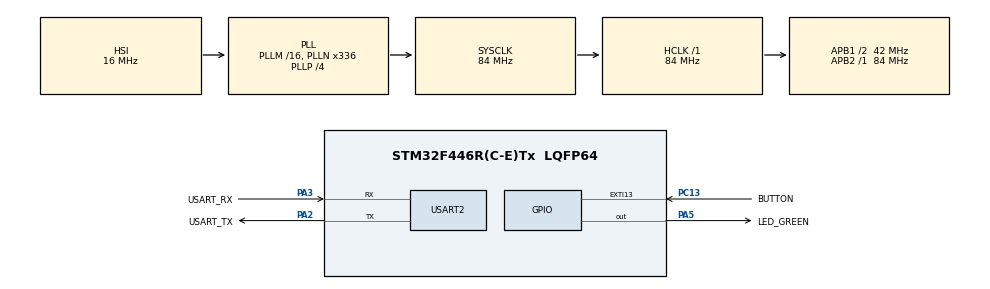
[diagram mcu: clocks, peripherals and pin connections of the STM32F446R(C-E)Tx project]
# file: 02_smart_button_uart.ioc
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Mcu.Family=STM32F4
Mcu.Name=STM32F446R(C-E)Tx
Mcu.Package=LQFP64
NUCLEO-F446RE.BUTTON=0
NVIC.PriorityGroup=NVIC_PRIORITYGROUP_0
PA13.GPIO_Label=TMS
PA13.Mode=Serial_Wire
PA13.Signal=SYS_JTMS-SWDIO
PA14.GPIO_Label=TCK
PA14.Mode=Serial_Wire
PA14.Signal=SYS_JTCK-SWCLK
PA2.GPIO_Label=USART_TX
PA2.GPIO_Speed=GPIO_SPEED_FREQ_VERY_HIGH
PA2.Mode=Asynchronous
PA2.Signal=USART2_TX
PA3.GPIO_Label=USART_RX
PA3.Mode=Asynchronous
PA3.Signal=USART2_RX
PA5.GPIO_Label=LED_GREEN
PA5.Signal=GPIO_Output
PB3.GPIO_Label=SWO
PB3.Signal=SYS_JTDO-SWO
PC13.GPIO_Label=BUTTON
PC13.Signal=GPXTI13
PC14-OSC32_IN.Signal=RCC_OSC32_IN
PC15-OSC32_OUT.Signal=RCC_OSC32_OUT
PH0-OSC_IN.Signal=RCC_OSC_IN
PH1-OSC_OUT.Signal=RCC_OSC_OUT
ProjectManager.HeapSize=0x200
ProjectManager.StackSize=0x400
ProjectManager.TargetToolchain=STM32CubeIDE
RCC.AHBFreq_Value=84000000
RCC.APB1CLKDivider=RCC_HCLK_DIV2
RCC.APB1Freq_Value=42000000
RCC.APB1TimFreq_Value=84000000
RCC.APB2Freq_Value=84000000
RCC.APB2TimFreq_Value=84000000
RCC.CortexFreq_Value=84000000
RCC.FLatency-AdvancedSettings=FLASH_LATENCY_2
RCC.HCLKFreq_Value=84000000
RCC.HSE_VALUE=8000000
RCC.HSI_VALUE=16000000
RCC.LSE_VALUE=32768
RCC.PLLN=336
RCC.PLLP=RCC_PLLP_DIV4
RCC.SYSCLKFreq_VALUE=84000000
RCC.SYSCLKSource=RCC_SYSCLKSOURCE_PLLCLK
RCC.USBFreq_Value=168000000
RCC.VCOOutputFreq_Value=336000000
USART2.VirtualMode=VM_ASYNC
VP_NUCLEO-F446RE_VS_BSP_COMMON.Mode=COMMON
board=NUCLEO-F446RE

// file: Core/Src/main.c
/* USER CODE BEGIN Header */
/**
  ******************************************************************************
  * @file           : main.c
  * @brief          : Main program body
  ******************************************************************************
  * @attention
  *
  * Copyright (c) 2026 STMicroelectronics.
  * All rights reserved.
  *
  * This software is licensed under terms that can be found in the LICENSE file
  * in the root directory of this software component.
  * If no LICENSE file comes with this software, it is provided AS-IS.
  *
  ******************************************************************************
  */
/* USER CODE END Header */
#include "main.h"

/* USER CODE BEGIN Includes */
#include <stdio.h>
/* USER CODE END Includes */

UART_HandleTypeDef huart2;

/* USER CODE BEGIN PV */
GPIO_PinState lastbutton = GPIO_PIN_SET;
uint32_t pressCount = 0;
/* USER CODE END PV */

void SystemClock_Config(void);
static void MX_GPIO_Init(void);
static void MX_USART2_UART_Init(void);

/* USER CODE BEGIN 0 */
int __io_putchar(int ch)
{
    HAL_UART_Transmit(&huart2, (uint8_t *)&ch, 1, HAL_MAX_DELAY);
    return ch;
}
/* USER CODE END 0 */

int main(void)
{

  /* MCU Configuration--------------------------------------------------------*/

  /* Reset of all peripherals, Initializes the Flash interface and the Systick. */
  HAL_Init();

  /* Configure the system clock */
  SystemClock_Config();

  /* Initialize all configured peripherals */
  MX_GPIO_Init();
  MX_USART2_UART_Init();
  /* USER CODE BEGIN 2 */
  setvbuf(stdout, NULL, _IONBF, 0);
printf("ready press the blue button in the board \r\n");
  /* USER CODE END 2 */

  /* Infinite loop */
  while (1)
  {

    /* USER CODE BEGIN 3 */
	  GPIO_PinState nowButton = HAL_GPIO_ReadPin(BUTTON_GPIO_Port, BUTTON_Pin);

	  if (lastbutton == GPIO_PIN_SET && nowButton == GPIO_PIN_RESET)
	  {
	      HAL_Delay(20);

	      if (HAL_GPIO_ReadPin(BUTTON_GPIO_Port, BUTTON_Pin) == GPIO_PIN_RESET)
	      {
	          HAL_GPIO_TogglePin(LED_GREEN_GPIO_Port, LED_GREEN_Pin);
	          pressCount++;

	          if (HAL_GPIO_ReadPin(LED_GREEN_GPIO_Port, LED_GREEN_Pin) == GPIO_PIN_SET)
	          {
	              printf("Press %lu: LED ON\r\n", pressCount);
	          }
	          else
	          {
	              printf("Press %lu: LED OFF\r\n", pressCount);
	          }
	      }
	  }

	  lastbutton = nowButton;
  }
  /* USER CODE END 3 */
}

void SystemClock_Config(void)
{
  RCC_OscInitTypeDef RCC_OscInitStruct = {0};
  RCC_ClkInitTypeDef RCC_ClkInitStruct = {0};

  /** Configure the main internal regulator output voltage
  */
  __HAL_RCC_PWR_CLK_ENABLE();
  __HAL_PWR_VOLTAGESCALING_CONFIG(PWR_REGULATOR_VOLTAGE_SCALE3);

  /** Initializes the RCC Oscillators according to the specified parameters
  * in the RCC_OscInitTypeDef structure.
  */
  RCC_OscInitStruct.OscillatorType = RCC_OSCILLATORTYPE_HSI;
  RCC_OscInitStruct.HSIState = RCC_HSI_ON;
  RCC_OscInitStruct.HSICalibrationValue = RCC_HSICALIBRATION_DEFAULT;
  RCC_OscInitStruct.PLL.PLLState = RCC_PLL_ON;
  RCC_OscInitStruct.PLL.PLLSource = RCC_PLLSOURCE_HSI;
  RCC_OscInitStruct.PLL.PLLM = 16;
  RCC_OscInitStruct.PLL.PLLN = 336;
  RCC_OscInitStruct.PLL.PLLP = RCC_PLLP_DIV4;
  RCC_OscInitStruct.PLL.PLLQ = 2;
  RCC_OscInitStruct.PLL.PLLR = 2;
  if (HAL_RCC_OscConfig(&RCC_OscInitStruct) != HAL_OK)
  {
    Error_Handler();
  }

  /** Initializes the CPU, AHB and APB buses clocks
  */
  RCC_ClkInitStruct.ClockType = RCC_CLOCKTYPE_HCLK|RCC_CLOCKTYPE_SYSCLK
                              |RCC_CLOCKTYPE_PCLK1|RCC_CLOCKTYPE_PCLK2;
  RCC_ClkInitStruct.SYSCLKSource = RCC_SYSCLKSOURCE_PLLCLK;
  RCC_ClkInitStruct.AHBCLKDivider = RCC_SYSCLK_DIV1;
  RCC_ClkInitStruct.APB1CLKDivider = RCC_HCLK_DIV2;
  RCC_ClkInitStruct.APB2CLKDivider = RCC_HCLK_DIV1;

  if (HAL_RCC_ClockConfig(&RCC_ClkInitStruct, FLASH_LATENCY_2) != HAL_OK)
  {
    Error_Handler();
  }
}

static void MX_USART2_UART_Init(void)
{

  huart2.Instance = USART2;
  huart2.Init.BaudRate = 115200;
  huart2.Init.WordLength = UART_WORDLENGTH_8B;
  huart2.Init.StopBits = UART_STOPBITS_1;
  huart2.Init.Parity = UART_PARITY_NONE;
  huart2.Init.Mode = UART_MODE_TX_RX;
  huart2.Init.HwFlowCtl = UART_HWCONTROL_NONE;
  huart2.Init.OverSampling = UART_OVERSAMPLING_16;
  if (HAL_UART_Init(&huart2) != HAL_OK)
  {
    Error_Handler();
  }

}

static void MX_GPIO_Init(void)
{
  GPIO_InitTypeDef GPIO_InitStruct = {0};

  /* GPIO Ports Clock Enable */
  __HAL_RCC_GPIOC_CLK_ENABLE();
  __HAL_RCC_GPIOH_CLK_ENABLE();
  __HAL_RCC_GPIOA_CLK_ENABLE();
  __HAL_RCC_GPIOB_CLK_ENABLE();

  /*Configure GPIO pin Output Level */
  HAL_GPIO_WritePin(LED_GREEN_GPIO_Port, LED_GREEN_Pin, GPIO_PIN_RESET);

  /*Configure GPIO pin : BUTTON_Pin */
  GPIO_InitStruct.Pin = BUTTON_Pin;
  GPIO_InitStruct.Mode = GPIO_MODE_IT_RISING;
  GPIO_InitStruct.Pull = GPIO_NOPULL;
  HAL_GPIO_Init(BUTTON_GPIO_Port, &GPIO_InitStruct);

  /*Configure GPIO pin : LED_GREEN_Pin */
  GPIO_InitStruct.Pin = LED_GREEN_Pin;
  GPIO_InitStruct.Mode = GPIO_MODE_OUTPUT_PP;
  GPIO_InitStruct.Pull = GPIO_NOPULL;
  GPIO_InitStruct.Speed = GPIO_SPEED_FREQ_LOW;
  HAL_GPIO_Init(LED_GREEN_GPIO_Port, &GPIO_InitStruct);

}

void Error_Handler(void)
{
  __disable_irq();
  while (1)
  {
  }
}
